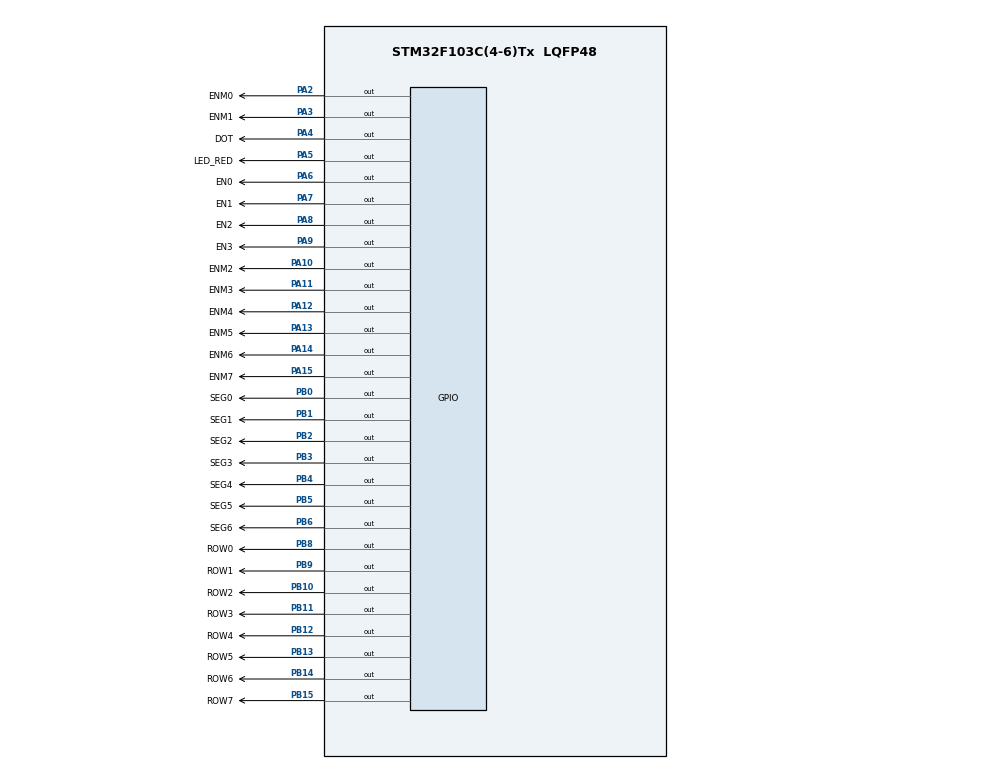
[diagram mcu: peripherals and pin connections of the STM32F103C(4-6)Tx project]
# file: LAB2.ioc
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Mcu.Family=STM32F1
Mcu.Name=STM32F103C(4-6)Tx
Mcu.Package=LQFP48
NVIC.PriorityGroup=NVIC_PRIORITYGROUP_4
NVIC.TIM2_IRQn=true\:0\:0\:false\:false\:true\:true\:true
PA10.GPIO_Label=ENM2
PA10.Signal=GPIO_Output
PA11.GPIO_Label=ENM3
PA11.Signal=GPIO_Output
PA12.GPIO_Label=ENM4
PA12.Signal=GPIO_Output
PA13.GPIO_Label=ENM5
PA13.Signal=GPIO_Output
PA14.GPIO_Label=ENM6
PA14.Signal=GPIO_Output
PA15.GPIO_Label=ENM7
PA15.Signal=GPIO_Output
PA2.GPIO_Label=ENM0
PA2.Signal=GPIO_Output
PA3.GPIO_Label=ENM1
PA3.Signal=GPIO_Output
PA4.GPIO_Label=DOT
PA4.Signal=GPIO_Output
PA5.GPIO_Label=LED_RED
PA5.Signal=GPIO_Output
PA6.GPIO_Label=EN0
PA6.Signal=GPIO_Output
PA7.GPIO_Label=EN1
PA7.Signal=GPIO_Output
PA8.GPIO_Label=EN2
PA8.Signal=GPIO_Output
PA9.GPIO_Label=EN3
PA9.Signal=GPIO_Output
PB0.GPIO_Label=SEG0
PB0.Signal=GPIO_Output
PB1.GPIO_Label=SEG1
PB1.Signal=GPIO_Output
PB10.GPIO_Label=ROW2
PB10.Signal=GPIO_Output
PB11.GPIO_Label=ROW3
PB11.Signal=GPIO_Output
PB12.GPIO_Label=ROW4
PB12.Signal=GPIO_Output
PB13.GPIO_Label=ROW5
PB13.Signal=GPIO_Output
PB14.GPIO_Label=ROW6
PB14.Signal=GPIO_Output
PB15.GPIO_Label=ROW7
PB15.Signal=GPIO_Output
PB2.GPIO_Label=SEG2
PB2.Signal=GPIO_Output
PB3.GPIO_Label=SEG3
PB3.Signal=GPIO_Output
PB4.GPIO_Label=SEG4
PB4.Signal=GPIO_Output
PB5.GPIO_Label=SEG5
PB5.Signal=GPIO_Output
PB6.GPIO_Label=SEG6
PB6.Signal=GPIO_Output
PB8.GPIO_Label=ROW0
PB8.Signal=GPIO_Output
PB9.GPIO_Label=ROW1
PB9.Signal=GPIO_Output
ProjectManager.HeapSize=0x200
ProjectManager.StackSize=0x400
ProjectManager.TargetToolchain=STM32CubeIDE
RCC.APB1Freq_Value=8000000
RCC.APB2Freq_Value=8000000
TIM2.Period=9
TIM2.Prescaler=7999
VP_SYS_VS_ND.Mode=No_Debug
VP_TIM2_VS_ClockSourceINT.Mode=Internal
board=custom

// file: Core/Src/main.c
/* USER CODE BEGIN Header */
/**
  ******************************************************************************
  * @file           : main.c
  * @brief          : Main program body
  ******************************************************************************
  * @attention
  *
  * <h2><center>&copy; Copyright (c) 2024 STMicroelectronics.
  * All rights reserved.</center></h2>
  *
  * This software component is licensed by ST under BSD 3-Clause license,
  * the "License"; You may not use this file except in compliance with the
  * License. You may obtain a copy of the License at:
  *                        opensource.org/licenses/BSD-3-Clause
  *
  ******************************************************************************
  */
/* USER CODE END Header */
#include "main.h"

/* USER CODE BEGIN Includes */
#include "software_timer.h"
/* USER CODE END Includes */

/* USER CODE BEGIN PD */
#define TIME1 25
#define TIME2 100
#define TIME3 100
#define TIME4 25
/* USER CODE END PD */

TIM_HandleTypeDef htim2;

/* USER CODE BEGIN PV */
int status = 0;
const int MAX_LED = 4;
int index_led = 0;
int led_buffer[4] = {1, 2, 3, 4};
int hour = 12, minute = 8, second = 50;
const int MAX_LED_MATRIX = 8;
int index_led_matrix = 0;
uint8_t matrix_buffer[8] = {0x00, 0xfc, 0xfe, 0x33, 0x33, 0xfe, 0xfc, 0x00};

/* USER CODE END PV */

void SystemClock_Config(void);
static void MX_GPIO_Init(void);
static void MX_TIM2_Init(void);

/* USER CODE BEGIN 0 */
void display7SEG(int num);
void update7SEG(int index);
void updateClockBuffer();
void updateLEDMatrix(int index);
void displayLEDMatrix(int num);
/* USER CODE END 0 */

int main(void)
{

  /* MCU Configuration--------------------------------------------------------*/

  /* Reset of all peripherals, Initializes the Flash interface and the Systick. */
  HAL_Init();

  /* Configure the system clock */
  SystemClock_Config();

  /* Initialize all configured peripherals */
  MX_GPIO_Init();
  MX_TIM2_Init();
  /* USER CODE BEGIN 2 */
  HAL_TIM_Base_Start_IT(&htim2);
  updateClockBuffer();
  /* USER CODE END 2 */

  /* Infinite loop */
  /* USER CODE BEGIN WHILE */
  setTimer1(TIME1);
  setTimer2(TIME2);
  setTimer3(TIME3);
  setTimer4(TIME4);
  while (1)
  {
	  if (timer3_flag == 1){
	  		  second++;
	  		  if (second >= 60){
	  			  second = 0;
	  			  minute++;
	  		  }
	  		  if (minute >= 60){
	  			  minute = 0;
	  			  hour++;
	  		  }
	  		  if (hour >= 24){
	  			  hour = 0;
	  		  }
	  		  updateClockBuffer();
	  		  setTimer3(TIME3);
	  }
	  if (timer1_flag == 1){
		  update7SEG(index_led++);
		  if (index_led >= MAX_LED) index_led = 0;
		  setTimer1(TIME1);
	  }
	  if (timer2_flag == 1){
		  HAL_GPIO_TogglePin(LED_RED_GPIO_Port, LED_RED_Pin);
		  HAL_GPIO_TogglePin(DOT_GPIO_Port, DOT_Pin);
		  setTimer2(TIME2);
	  }
	  if (timer4_flag == 1){
		  updateLEDMatrix(index_led_matrix++);
		  if (index_led_matrix >= MAX_LED_MATRIX) index_led_matrix = 0;
		  setTimer4(TIME4);
	  }

    /* USER CODE END WHILE */

  }
}

void SystemClock_Config(void)
{
  RCC_OscInitTypeDef RCC_OscInitStruct = {0};
  RCC_ClkInitTypeDef RCC_ClkInitStruct = {0};

  /** Initializes the RCC Oscillators according to the specified parameters
  * in the RCC_OscInitTypeDef structure.
  */
  RCC_OscInitStruct.OscillatorType = RCC_OSCILLATORTYPE_HSI;
  RCC_OscInitStruct.HSIState = RCC_HSI_ON;
  RCC_OscInitStruct.HSICalibrationValue = RCC_HSICALIBRATION_DEFAULT;
  RCC_OscInitStruct.PLL.PLLState = RCC_PLL_NONE;
  if (HAL_RCC_OscConfig(&RCC_OscInitStruct) != HAL_OK)
  {
    Error_Handler();
  }
  /** Initializes the CPU, AHB and APB buses clocks
  */
  RCC_ClkInitStruct.ClockType = RCC_CLOCKTYPE_HCLK|RCC_CLOCKTYPE_SYSCLK
                              |RCC_CLOCKTYPE_PCLK1|RCC_CLOCKTYPE_PCLK2;
  RCC_ClkInitStruct.SYSCLKSource = RCC_SYSCLKSOURCE_HSI;
  RCC_ClkInitStruct.AHBCLKDivider = RCC_SYSCLK_DIV1;
  RCC_ClkInitStruct.APB1CLKDivider = RCC_HCLK_DIV1;
  RCC_ClkInitStruct.APB2CLKDivider = RCC_HCLK_DIV1;

  if (HAL_RCC_ClockConfig(&RCC_ClkInitStruct, FLASH_LATENCY_0) != HAL_OK)
  {
    Error_Handler();
  }
}

static void MX_TIM2_Init(void)
{

  TIM_ClockConfigTypeDef sClockSourceConfig = {0};
  TIM_MasterConfigTypeDef sMasterConfig = {0};

  htim2.Instance = TIM2;
  htim2.Init.Prescaler = 7999;
  htim2.Init.CounterMode = TIM_COUNTERMODE_UP;
  htim2.Init.Period = 9;
  htim2.Init.ClockDivision = TIM_CLOCKDIVISION_DIV1;
  htim2.Init.AutoReloadPreload = TIM_AUTORELOAD_PRELOAD_DISABLE;
  if (HAL_TIM_Base_Init(&htim2) != HAL_OK)
  {
    Error_Handler();
  }
  sClockSourceConfig.ClockSource = TIM_CLOCKSOURCE_INTERNAL;
  if (HAL_TIM_ConfigClockSource(&htim2, &sClockSourceConfig) != HAL_OK)
  {
    Error_Handler();
  }
  sMasterConfig.MasterOutputTrigger = TIM_TRGO_RESET;
  sMasterConfig.MasterSlaveMode = TIM_MASTERSLAVEMODE_DISABLE;
  if (HAL_TIMEx_MasterConfigSynchronization(&htim2, &sMasterConfig) != HAL_OK)
  {
    Error_Handler();
  }

}

static void MX_GPIO_Init(void)
{
  GPIO_InitTypeDef GPIO_InitStruct = {0};

  /* GPIO Ports Clock Enable */
  __HAL_RCC_GPIOA_CLK_ENABLE();
  __HAL_RCC_GPIOB_CLK_ENABLE();

  /*Configure GPIO pin Output Level */
  HAL_GPIO_WritePin(GPIOA, ENM0_Pin|ENM1_Pin|DOT_Pin|LED_RED_Pin
                          |EN0_Pin|EN1_Pin|EN2_Pin|EN3_Pin
                          |ENM2_Pin|ENM3_Pin|ENM4_Pin|ENM5_Pin
                          |ENM6_Pin|ENM7_Pin, GPIO_PIN_RESET);

  /*Configure GPIO pin Output Level */
  HAL_GPIO_WritePin(GPIOB, SEG0_Pin|SEG1_Pin|SEG2_Pin|ROW2_Pin
                          |ROW3_Pin|ROW4_Pin|ROW5_Pin|ROW6_Pin
                          |ROW7_Pin|SEG3_Pin|SEG4_Pin|SEG5_Pin
                          |SEG6_Pin|ROW0_Pin|ROW1_Pin, GPIO_PIN_RESET);

  /*Configure GPIO pins : ENM0_Pin ENM1_Pin DOT_Pin LED_RED_Pin
                           EN0_Pin EN1_Pin EN2_Pin EN3_Pin
                           ENM2_Pin ENM3_Pin ENM4_Pin ENM5_Pin
                           ENM6_Pin ENM7_Pin */
  GPIO_InitStruct.Pin = ENM0_Pin|ENM1_Pin|DOT_Pin|LED_RED_Pin
                          |EN0_Pin|EN1_Pin|EN2_Pin|EN3_Pin
                          |ENM2_Pin|ENM3_Pin|ENM4_Pin|ENM5_Pin
                          |ENM6_Pin|ENM7_Pin;
  GPIO_InitStruct.Mode = GPIO_MODE_OUTPUT_PP;
  GPIO_InitStruct.Pull = GPIO_NOPULL;
  GPIO_InitStruct.Speed = GPIO_SPEED_FREQ_LOW;
  HAL_GPIO_Init(GPIOA, &GPIO_InitStruct);

  /*Configure GPIO pins : SEG0_Pin SEG1_Pin SEG2_Pin ROW2_Pin
                           ROW3_Pin ROW4_Pin ROW5_Pin ROW6_Pin
                           ROW7_Pin SEG3_Pin SEG4_Pin SEG5_Pin
                           SEG6_Pin ROW0_Pin ROW1_Pin */
  GPIO_InitStruct.Pin = SEG0_Pin|SEG1_Pin|SEG2_Pin|ROW2_Pin
                          |ROW3_Pin|ROW4_Pin|ROW5_Pin|ROW6_Pin
                          |ROW7_Pin|SEG3_Pin|SEG4_Pin|SEG5_Pin
                          |SEG6_Pin|ROW0_Pin|ROW1_Pin;
  GPIO_InitStruct.Mode = GPIO_MODE_OUTPUT_PP;
  GPIO_InitStruct.Pull = GPIO_NOPULL;
  GPIO_InitStruct.Speed = GPIO_SPEED_FREQ_LOW;
  HAL_GPIO_Init(GPIOB, &GPIO_InitStruct);

}

/* USER CODE BEGIN 4 */
int counter1 = TIME1;
int counter2 = TIME2;
void HAL_TIM_PeriodElapsedCallback(TIM_HandleTypeDef *htim){
	timerRun();
}
void display7SEG(int num)
{
	switch (num){
	case 0:
		HAL_GPIO_WritePin(SEG0_GPIO_Port, SEG0_Pin, RESET);
		HAL_GPIO_WritePin(SEG1_GPIO_Port, SEG1_Pin, RESET);
		HAL_GPIO_WritePin(SEG2_GPIO_Port, SEG2_Pin, RESET);
		HAL_GPIO_WritePin(SEG3_GPIO_Port, SEG3_Pin, RESET);
		HAL_GPIO_WritePin(SEG4_GPIO_Port, SEG4_Pin, RESET);
		HAL_GPIO_WritePin(SEG5_GPIO_Port, SEG5_Pin, RESET);
		HAL_GPIO_WritePin(SEG6_GPIO_Port, SEG6_Pin, SET);
		break;
	case 1:
		HAL_GPIO_WritePin(SEG0_GPIO_Port, SEG0_Pin, SET);
		HAL_GPIO_WritePin(SEG1_GPIO_Port, SEG1_Pin, RESET);
		HAL_GPIO_WritePin(SEG2_GPIO_Port, SEG2_Pin, RESET);
		HAL_GPIO_WritePin(SEG3_GPIO_Port, SEG3_Pin, SET);
		HAL_GPIO_WritePin(SEG4_GPIO_Port, SEG4_Pin, SET);
		HAL_GPIO_WritePin(SEG5_GPIO_Port, SEG5_Pin, SET);
		HAL_GPIO_WritePin(SEG6_GPIO_Port, SEG6_Pin, SET);
		break;
	case 2:
		HAL_GPIO_WritePin(SEG0_GPIO_Port, SEG0_Pin, RESET);
		HAL_GPIO_WritePin(SEG1_GPIO_Port, SEG1_Pin, RESET);
		HAL_GPIO_WritePin(SEG2_GPIO_Port, SEG2_Pin, SET);
		HAL_GPIO_WritePin(SEG3_GPIO_Port, SEG3_Pin, RESET);
		HAL_GPIO_WritePin(SEG4_GPIO_Port, SEG4_Pin, RESET);
		HAL_GPIO_WritePin(SEG5_GPIO_Port, SEG5_Pin, SET);
		HAL_GPIO_WritePin(SEG6_GPIO_Port, SEG6_Pin, RESET);
		break;
	case 3:
		HAL_GPIO_WritePin(SEG0_GPIO_Port, SEG0_Pin, RESET);
		HAL_GPIO_WritePin(SEG1_GPIO_Port, SEG1_Pin, RESET);
		HAL_GPIO_WritePin(SEG2_GPIO_Port, SEG2_Pin, RESET);
		HAL_GPIO_WritePin(SEG3_GPIO_Port, SEG3_Pin, RESET);
		HAL_GPIO_WritePin(SEG4_GPIO_Port, SEG4_Pin, SET);
		HAL_GPIO_WritePin(SEG5_GPIO_Port, SEG5_Pin, SET);
		HAL_GPIO_WritePin(SEG6_GPIO_Port, SEG6_Pin, RESET);
		break;
	case 4:
		HAL_GPIO_WritePin(SEG0_GPIO_Port, SEG0_Pin, SET);
		HAL_GPIO_WritePin(SEG1_GPIO_Port, SEG1_Pin, RESET);
		HAL_GPIO_WritePin(SEG2_GPIO_Port, SEG2_Pin, RESET);
		HAL_GPIO_WritePin(SEG3_GPIO_Port, SEG3_Pin, SET);
		HAL_GPIO_WritePin(SEG4_GPIO_Port, SEG4_Pin, SET);
		HAL_GPIO_WritePin(SEG5_GPIO_Port, SEG5_Pin, RESET);
		HAL_GPIO_WritePin(SEG6_GPIO_Port, SEG6_Pin, RESET);
		break;
	case 5:
		HAL_GPIO_WritePin(SEG0_GPIO_Port, SEG0_Pin, RESET);
		HAL_GPIO_WritePin(SEG1_GPIO_Port, SEG1_Pin, SET);
		HAL_GPIO_WritePin(SEG2_GPIO_Port, SEG2_Pin, RESET);
		HAL_GPIO_WritePin(SEG3_GPIO_Port, SEG3_Pin, RESET);
		HAL_GPIO_WritePin(SEG4_GPIO_Port, SEG4_Pin, SET);
		HAL_GPIO_WritePin(SEG5_GPIO_Port, SEG5_Pin, RESET);
		HAL_GPIO_WritePin(SEG6_GPIO_Port, SEG6_Pin, RESET);
		break;
	case 6:
		HAL_GPIO_WritePin(SEG0_GPIO_Port, SEG0_Pin, RESET);
		HAL_GPIO_WritePin(SEG1_GPIO_Port, SEG1_Pin, SET);
		HAL_GPIO_WritePin(SEG2_GPIO_Port, SEG2_Pin, RESET);
		HAL_GPIO_WritePin(SEG3_GPIO_Port, SEG3_Pin, RESET);
		HAL_GPIO_WritePin(SEG4_GPIO_Port, SEG4_Pin, RESET);
		HAL_GPIO_WritePin(SEG5_GPIO_Port, SEG5_Pin, RESET);
		HAL_GPIO_WritePin(SEG6_GPIO_Port, SEG6_Pin, RESET);
		break;
	case 7:
		HAL_GPIO_WritePin(SEG0_GPIO_Port, SEG0_Pin, RESET);
		HAL_GPIO_WritePin(SEG1_GPIO_Port, SEG1_Pin, RESET);
		HAL_GPIO_WritePin(SEG2_GPIO_Port, SEG2_Pin, RESET);
		HAL_GPIO_WritePin(SEG3_GPIO_Port, SEG3_Pin, SET);
		HAL_GPIO_WritePin(SEG4_GPIO_Port, SEG4_Pin, SET);
		HAL_GPIO_WritePin(SEG5_GPIO_Port, SEG5_Pin, SET);
		HAL_GPIO_WritePin(SEG6_GPIO_Port, SEG6_Pin, SET);
		break;
	case 8:
		HAL_GPIO_WritePin(SEG0_GPIO_Port, SEG0_Pin, RESET);
		HAL_GPIO_WritePin(SEG1_GPIO_Port, SEG1_Pin, RESET);
		HAL_GPIO_WritePin(SEG2_GPIO_Port, SEG2_Pin, RESET);
		HAL_GPIO_WritePin(SEG3_GPIO_Port, SEG3_Pin, RESET);
		HAL_GPIO_WritePin(SEG4_GPIO_Port, SEG4_Pin, RESET);
		HAL_GPIO_WritePin(SEG5_GPIO_Port, SEG5_Pin, RESET);
		HAL_GPIO_WritePin(SEG6_GPIO_Port, SEG6_Pin, RESET);
		break;
	case 9:
		HAL_GPIO_WritePin(SEG0_GPIO_Port, SEG0_Pin, RESET);
		HAL_GPIO_WritePin(SEG1_GPIO_Port, SEG1_Pin, RESET);
		HAL_GPIO_WritePin(SEG2_GPIO_Port, SEG2_Pin, RESET);
		HAL_GPIO_WritePin(SEG3_GPIO_Port, SEG3_Pin, RESET);
		HAL_GPIO_WritePin(SEG4_GPIO_Port, SEG4_Pin, SET);
		HAL_GPIO_WritePin(SEG5_GPIO_Port, SEG5_Pin, RESET);
		HAL_GPIO_WritePin(SEG6_GPIO_Port, SEG6_Pin, RESET);
		break;
	default:
		break;
	}
}
void update7SEG(int index){
	switch (index){
	case 0:
		HAL_GPIO_WritePin(EN0_GPIO_Port, EN0_Pin, RESET);
		HAL_GPIO_WritePin(EN1_GPIO_Port, EN1_Pin, SET);
		HAL_GPIO_WritePin(EN2_GPIO_Port, EN2_Pin, SET);
		HAL_GPIO_WritePin(EN3_GPIO_Port, EN3_Pin, SET);
		break;
	case 1:
		HAL_GPIO_WritePin(EN0_GPIO_Port, EN0_Pin, SET);
		HAL_GPIO_WritePin(EN1_GPIO_Port, EN1_Pin, RESET);
		HAL_GPIO_WritePin(EN2_GPIO_Port, EN2_Pin, SET);
		HAL_GPIO_WritePin(EN3_GPIO_Port, EN3_Pin, SET);
		break;
	case 2:
		HAL_GPIO_WritePin(EN0_GPIO_Port, EN0_Pin, SET);
		HAL_GPIO_WritePin(EN1_GPIO_Port, EN1_Pin, SET);
		HAL_GPIO_WritePin(EN2_GPIO_Port, EN2_Pin, RESET);
		HAL_GPIO_WritePin(EN3_GPIO_Port, EN3_Pin, SET);
		break;
	case 3:
		HAL_GPIO_WritePin(EN0_GPIO_Port, EN0_Pin, SET);
		HAL_GPIO_WritePin(EN1_GPIO_Port, EN1_Pin, SET);
		HAL_GPIO_WritePin(EN2_GPIO_Port, EN2_Pin, SET);
		HAL_GPIO_WritePin(EN3_GPIO_Port, EN3_Pin, RESET);
		break;
	default:
		break;
	}
	display7SEG(led_buffer[index]);
}
void updateClockBuffer(){
	led_buffer[0] = hour / 10;
	led_buffer[1] = hour % 10;
	led_buffer[2] = minute / 10;
	led_buffer[3] = minute % 10;
}
void updateLEDMatrix(int index){
	switch (index){
	case 0:
		HAL_GPIO_WritePin(ENM0_GPIO_Port, ENM0_Pin, RESET);
		HAL_GPIO_WritePin(ENM1_GPIO_Port, ENM1_Pin, SET);
		HAL_GPIO_WritePin(ENM2_GPIO_Port, ENM2_Pin, SET);
		HAL_GPIO_WritePin(ENM3_GPIO_Port, ENM3_Pin, SET);
		HAL_GPIO_WritePin(ENM4_GPIO_Port, ENM4_Pin, SET);
		HAL_GPIO_WritePin(ENM5_GPIO_Port, ENM5_Pin, SET);
		HAL_GPIO_WritePin(ENM6_GPIO_Port, ENM6_Pin, SET);
		HAL_GPIO_WritePin(ENM7_GPIO_Port, ENM7_Pin, SET);
		break;
	case 1:
		HAL_GPIO_WritePin(ENM0_GPIO_Port, ENM0_Pin, SET);
		HAL_GPIO_WritePin(ENM1_GPIO_Port, ENM1_Pin, RESET);
		HAL_GPIO_WritePin(ENM2_GPIO_Port, ENM2_Pin, SET);
		HAL_GPIO_WritePin(ENM3_GPIO_Port, ENM3_Pin, SET);
		HAL_GPIO_WritePin(ENM4_GPIO_Port, ENM4_Pin, SET);
		HAL_GPIO_WritePin(ENM5_GPIO_Port, ENM5_Pin, SET);
		HAL_GPIO_WritePin(ENM6_GPIO_Port, ENM6_Pin, SET);
		HAL_GPIO_WritePin(ENM7_GPIO_Port, ENM7_Pin, SET);
		break;
	case 2:
		HAL_GPIO_WritePin(ENM0_GPIO_Port, ENM0_Pin, SET);
		HAL_GPIO_WritePin(ENM1_GPIO_Port, ENM1_Pin, SET);
		HAL_GPIO_WritePin(ENM2_GPIO_Port, ENM2_Pin, RESET);
		HAL_GPIO_WritePin(ENM3_GPIO_Port, ENM3_Pin, SET);
		HAL_GPIO_WritePin(ENM4_GPIO_Port, ENM4_Pin, SET);
		HAL_GPIO_WritePin(ENM5_GPIO_Port, ENM5_Pin, SET);
		HAL_GPIO_WritePin(ENM6_GPIO_Port, ENM6_Pin, SET);
		HAL_GPIO_WritePin(ENM7_GPIO_Port, ENM7_Pin, SET);
		break;
	case 3:
		HAL_GPIO_WritePin(ENM0_GPIO_Port, ENM0_Pin, SET);
		HAL_GPIO_WritePin(ENM1_GPIO_Port, ENM1_Pin, SET);
		HAL_GPIO_WritePin(ENM2_GPIO_Port, ENM2_Pin, SET);
		HAL_GPIO_WritePin(ENM3_GPIO_Port, ENM3_Pin, RESET);
		HAL_GPIO_WritePin(ENM4_GPIO_Port, ENM4_Pin, SET);
		HAL_GPIO_WritePin(ENM5_GPIO_Port, ENM5_Pin, SET);
		HAL_GPIO_WritePin(ENM6_GPIO_Port, ENM6_Pin, SET);
		HAL_GPIO_WritePin(ENM7_GPIO_Port, ENM7_Pin, SET);
		break;
	case 4:
		HAL_GPIO_WritePin(ENM0_GPIO_Port, ENM0_Pin, SET);
		HAL_GPIO_WritePin(ENM1_GPIO_Port, ENM1_Pin, SET);
		HAL_GPIO_WritePin(ENM2_GPIO_Port, ENM2_Pin, SET);
		HAL_GPIO_WritePin(ENM3_GPIO_Port, ENM3_Pin, SET);
		HAL_GPIO_WritePin(ENM4_GPIO_Port, ENM4_Pin, RESET);
		HAL_GPIO_WritePin(ENM5_GPIO_Port, ENM5_Pin, SET);
		HAL_GPIO_WritePin(ENM6_GPIO_Port, ENM6_Pin, SET);
		HAL_GPIO_WritePin(ENM7_GPIO_Port, ENM7_Pin, SET);
		break;
	case 5:
		HAL_GPIO_WritePin(ENM0_GPIO_Port, ENM0_Pin, SET);
		HAL_GPIO_WritePin(ENM1_GPIO_Port, ENM1_Pin, SET);
		HAL_GPIO_WritePin(ENM2_GPIO_Port, ENM2_Pin, SET);
		HAL_GPIO_WritePin(ENM3_GPIO_Port, ENM3_Pin, SET);
		HAL_GPIO_WritePin(ENM4_GPIO_Port, ENM4_Pin, SET);
		HAL_GPIO_WritePin(ENM5_GPIO_Port, ENM5_Pin, RESET);
		HAL_GPIO_WritePin(ENM6_GPIO_Port, ENM6_Pin, SET);
		HAL_GPIO_WritePin(ENM7_GPIO_Port, ENM7_Pin, SET);
		break;
	case 6:
		HAL_GPIO_WritePin(ENM0_GPIO_Port, ENM0_Pin, SET);
		HAL_GPIO_WritePin(ENM1_GPIO_Port, ENM1_Pin, SET);
		HAL_GPIO_WritePin(ENM2_GPIO_Port, ENM2_Pin, SET);
		HAL_GPIO_WritePin(ENM3_GPIO_Port, ENM3_Pin, SET);
		HAL_GPIO_WritePin(ENM4_GPIO_Port, ENM4_Pin, SET);
		HAL_GPIO_WritePin(ENM5_GPIO_Port, ENM5_Pin, SET);
		HAL_GPIO_WritePin(ENM6_GPIO_Port, ENM6_Pin, RESET);
		HAL_GPIO_WritePin(ENM7_GPIO_Port, ENM7_Pin, SET);
		break;
	case 7:
		HAL_GPIO_WritePin(ENM0_GPIO_Port, ENM0_Pin, SET);
		HAL_GPIO_WritePin(ENM1_GPIO_Port, ENM1_Pin, SET);
		HAL_GPIO_WritePin(ENM2_GPIO_Port, ENM2_Pin, SET);
		HAL_GPIO_WritePin(ENM3_GPIO_Port, ENM3_Pin, SET);
		HAL_GPIO_WritePin(ENM4_GPIO_Port, ENM4_Pin, SET);
		HAL_GPIO_WritePin(ENM5_GPIO_Port, ENM5_Pin, SET);
		HAL_GPIO_WritePin(ENM6_GPIO_Port, ENM6_Pin, SET);
		HAL_GPIO_WritePin(ENM7_GPIO_Port, ENM7_Pin, RESET);
		break;
	default:
		break;
	}
	displayLEDMatrix(matrix_buffer[index]);
}
void displayLEDMatrix(int num){
	for(int i = 0; i <= 8; i++){
		HAL_GPIO_WritePin(GPIOB, 1 << (8 + i), !((num >> i) & 0x1));
	}
}
/* USER CODE END 4 */

void Error_Handler(void)
{
  __disable_irq();
  while (1)
  {
  }
}

/************************ (C) COPYRIGHT STMicroelectronics *****END OF FILE****/
